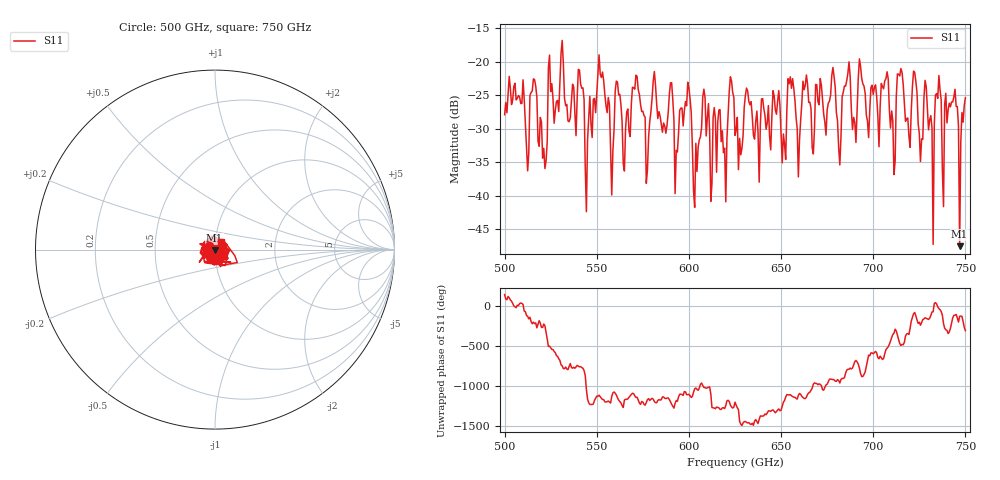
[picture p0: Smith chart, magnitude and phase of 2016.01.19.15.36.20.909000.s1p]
!Created with skrf (http://scikit-rf.org).
# GHz S RI R 50.0
!freq ReS11 ImS11
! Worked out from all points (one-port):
!   401 points, 500 GHz to 750 GHz, reference 50 ohm
!   lowest |S11| = -47.5 dB at 746.9 GHz (marker M1), VSWR 1.01, Z = 49.8 - j0.338 ohm
!   |S11| at or under -10 dB: start of sweep to end of sweep
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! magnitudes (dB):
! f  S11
! 500 GHz  -27.9
! 516.2 GHz  -22.7
! 521.9 GHz  -36.0
! 531.2 GHz  -16.9
! 541.2 GHz  -23.4
! 544.4 GHz  -42.4
! 551.9 GHz  -21.9
! 558.1 GHz  -39.9
! 562.5 GHz  -24.9
! 577.5 GHz  -36.1
! 590 GHz  -23.2
! 593.8 GHz  -33.5
! 625 GHz  -31.0
! 651.2 GHz  -30.8
! 656.2 GHz  -22.6
! 659.4 GHz  -37.2
! 663.1 GHz  -23.5
! 681.2 GHz  -32.9
! 687.5 GHz  -22.3
! 706.9 GHz  -22.6
! 710.6 GHz  -28.9
! 714.4 GHz  -22.1
! 718.8 GHz  -28.4
! 722.5 GHz  -21.6
! 725.6 GHz  -34.9
! 735 GHz  -25.5
! 746.9 GHz  -47.5
! 750 GHz  -25.4
